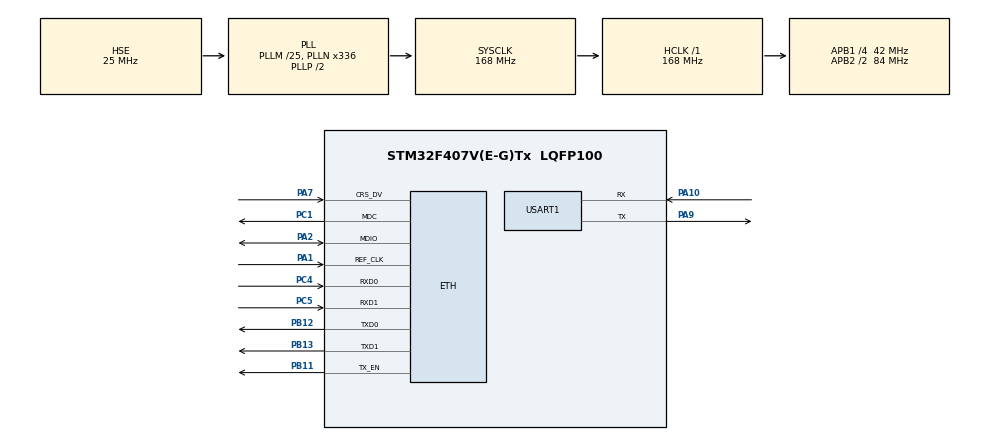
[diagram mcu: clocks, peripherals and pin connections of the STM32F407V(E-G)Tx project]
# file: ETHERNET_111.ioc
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ETH.MediaInterface=HAL_ETH_RMII_MODE
ETH.PHY_Name_RMII=DP83848_PHY_ADDRESS
FREERTOS.INCLUDE_vTaskDelayUntil=1
FREERTOS.Tasks01=defaultTask,0,512,StartDefaultTask,Default,NULL,Dynamic,NULL,NULL
FREERTOS.configMINIMAL_STACK_SIZE=512
FREERTOS.configTOTAL_HEAP_SIZE=32000
FREERTOS.configUSE_NEWLIB_REENTRANT=1
LWIP.BSP.number=1
LWIP.LWIP_HTTPD=1
LWIP.LWIP_RAM_HEAP_POINTER=0x20004000
LWIP.MEM_SIZE=1024*10
LWIP.Version=v2.1.2_Cube
LWIP0.BSP.STBoard=false
LWIP0.BSP.api=BSP_COMPONENT_DRIVER
LWIP0.BSP.component=DP83848
LWIP0.BSP.i2caddr=0
LWIP0.BSP.instance=DP83848
LWIP0.BSP.name=Driver_PHY
LWIP0.BSP.semaphore=S_DP83848
LWIP0.BSP.solution=DP83848
Mcu.Family=STM32F4
Mcu.Name=STM32F407V(E-G)Tx
Mcu.Package=LQFP100
NVIC.ETH_IRQn=true\:5\:0\:false\:false\:true\:true\:true\:true\:true
NVIC.ETH_WKUP_IRQn=true\:5\:0\:false\:false\:true\:true\:true\:true\:true
NVIC.PriorityGroup=NVIC_PRIORITYGROUP_4
NVIC.TIM1_UP_TIM10_IRQn=true\:15\:0\:false\:false\:true\:false\:false\:true\:true
NVIC.TimeBase=TIM1_UP_TIM10_IRQn
NVIC.TimeBaseIP=TIM1
PA1.Mode=RMII
PA1.Signal=ETH_REF_CLK
PA10.Mode=Asynchronous
PA10.Signal=USART1_RX
PA13.Mode=Serial_Wire
PA13.Signal=SYS_JTMS-SWDIO
PA14.Mode=Serial_Wire
PA14.Signal=SYS_JTCK-SWCLK
PA2.Mode=RMII
PA2.Signal=ETH_MDIO
PA7.Mode=RMII
PA7.Signal=ETH_CRS_DV
PA9.Mode=Asynchronous
PA9.Signal=USART1_TX
PB11.Mode=RMII
PB11.Signal=ETH_TX_EN
PB12.Mode=RMII
PB12.Signal=ETH_TXD0
PB13.Mode=RMII
PB13.Signal=ETH_TXD1
PC1.Mode=RMII
PC1.Signal=ETH_MDC
PC4.Mode=RMII
PC4.Signal=ETH_RXD0
PC5.Mode=RMII
PC5.Signal=ETH_RXD1
PH0-OSC_IN.Mode=HSE-External-Oscillator
PH0-OSC_IN.Signal=RCC_OSC_IN
PH1-OSC_OUT.Mode=HSE-External-Oscillator
PH1-OSC_OUT.Signal=RCC_OSC_OUT
ProjectManager.HeapSize=0x200
ProjectManager.StackSize=0x400
ProjectManager.TargetToolchain=STM32CubeIDE
RCC.48MHZClocksFreq_Value=84000000
RCC.AHBFreq_Value=168000000
RCC.APB1CLKDivider=RCC_HCLK_DIV4
RCC.APB1Freq_Value=42000000
RCC.APB1TimFreq_Value=84000000
RCC.APB2CLKDivider=RCC_HCLK_DIV2
RCC.APB2Freq_Value=84000000
RCC.APB2TimFreq_Value=168000000
RCC.CortexFreq_Value=168000000
RCC.HCLKFreq_Value=168000000
RCC.HSE_VALUE=25000000
RCC.HSI_VALUE=16000000
RCC.LSE_VALUE=32768
RCC.PLLM=25
RCC.PLLN=336
RCC.PLLSourceVirtual=RCC_PLLSOURCE_HSE
RCC.SYSCLKFreq_VALUE=168000000
RCC.SYSCLKSource=RCC_SYSCLKSOURCE_PLLCLK
RCC.VCOOutputFreq_Value=336000000
USART1.VirtualMode=VM_ASYNC
VP_FREERTOS_VS_CMSIS_V1.Mode=CMSIS_V1
VP_LWIP_VS_Enabled.Mode=Enabled
VP_SYS_VS_tim1.Mode=TIM1
board=custom

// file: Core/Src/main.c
/* USER CODE BEGIN Header */
/**
  ******************************************************************************
  * @file           : main.c
  * @brief          : Main program body
  ******************************************************************************
  * @attention
  *
  * Copyright (c) 2022 STMicroelectronics.
  * All rights reserved.
  *
  * This software is licensed under terms that can be found in the LICENSE file
  * in the root directory of this software component.
  * If no LICENSE file comes with this software, it is provided AS-IS.
  *
  ******************************************************************************
  */
/* USER CODE END Header */
#include "main.h"
#include "cmsis_os.h"
#include "lwip.h"
#include "usart.h"
#include "gpio.h"

/* USER CODE BEGIN Includes */
#include "app_debug.h"
/* USER CODE END Includes */

void SystemClock_Config(void);
void MX_FREERTOS_Init(void);
/* USER CODE BEGIN PFP */
uint32_t sys_get_ms(void);
bool lock_debug(bool lock, uint32_t timeout_ms);
static SemaphoreHandle_t m_lock_debug;
SemaphoreHandle_t hHttpStart;
/* USER CODE END PFP */

int main(void)
{

  /* MCU Configuration--------------------------------------------------------*/

  /* Reset of all peripherals, Initializes the Flash interface and the Systick. */
  HAL_Init();

  /* Configure the system clock */
  SystemClock_Config();

  /* Initialize all configured peripherals */
  MX_GPIO_Init();
  MX_USART1_UART_Init();
  /* USER CODE BEGIN 2 */
  m_lock_debug = xSemaphoreCreateMutex();
  xSemaphoreGive(m_lock_debug);
  app_debug_init(sys_get_ms, lock_debug);
  app_debug_register_callback_print(usart_logger_put);

  /* USER CODE END 2 */

  /* Call init function for freertos objects (in freertos.c) */
  MX_FREERTOS_Init();

  /* Start scheduler */
  osKernelStart();

  /* We should never get here as control is now taken by the scheduler */
  /* Infinite loop */
  while (1)
  {

  }
}

void SystemClock_Config(void)
{
  RCC_OscInitTypeDef RCC_OscInitStruct = {0};
  RCC_ClkInitTypeDef RCC_ClkInitStruct = {0};

  /** Configure the main internal regulator output voltage
  */
  __HAL_RCC_PWR_CLK_ENABLE();
  __HAL_PWR_VOLTAGESCALING_CONFIG(PWR_REGULATOR_VOLTAGE_SCALE1);

  /** Initializes the RCC Oscillators according to the specified parameters
  * in the RCC_OscInitTypeDef structure.
  */
  RCC_OscInitStruct.OscillatorType = RCC_OSCILLATORTYPE_HSE;
  RCC_OscInitStruct.HSEState = RCC_HSE_ON;
  RCC_OscInitStruct.PLL.PLLState = RCC_PLL_ON;
  RCC_OscInitStruct.PLL.PLLSource = RCC_PLLSOURCE_HSE;
  RCC_OscInitStruct.PLL.PLLM = 25;
  RCC_OscInitStruct.PLL.PLLN = 336;
  RCC_OscInitStruct.PLL.PLLP = RCC_PLLP_DIV2;
  RCC_OscInitStruct.PLL.PLLQ = 4;
  if (HAL_RCC_OscConfig(&RCC_OscInitStruct) != HAL_OK)
  {
    Error_Handler();
  }

  /** Initializes the CPU, AHB and APB buses clocks
  */
  RCC_ClkInitStruct.ClockType = RCC_CLOCKTYPE_HCLK|RCC_CLOCKTYPE_SYSCLK
                              |RCC_CLOCKTYPE_PCLK1|RCC_CLOCKTYPE_PCLK2;
  RCC_ClkInitStruct.SYSCLKSource = RCC_SYSCLKSOURCE_PLLCLK;
  RCC_ClkInitStruct.AHBCLKDivider = RCC_SYSCLK_DIV1;
  RCC_ClkInitStruct.APB1CLKDivider = RCC_HCLK_DIV4;
  RCC_ClkInitStruct.APB2CLKDivider = RCC_HCLK_DIV2;

  if (HAL_RCC_ClockConfig(&RCC_ClkInitStruct, FLASH_LATENCY_5) != HAL_OK)
  {
    Error_Handler();
  }
}

/* USER CODE BEGIN 4 */
uint32_t sys_get_ms(void)
{
    return HAL_GetTick();
}

bool lock_debug(bool lock, uint32_t timeout_ms)
{
	if (lock)
		return xSemaphoreTake(m_lock_debug, timeout_ms);
	xSemaphoreGive(m_lock_debug);
	return true;
}
/* USER CODE END 4 */

void HAL_TIM_PeriodElapsedCallback(TIM_HandleTypeDef *htim)
{
  if (htim->Instance == TIM1) {
    HAL_IncTick();
  }
}

void Error_Handler(void)
{
  __disable_irq();
  while (1)
  {
  }
}

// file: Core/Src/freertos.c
/* USER CODE BEGIN Header */
/**
  ******************************************************************************
  * File Name          : freertos.c
  * Description        : Code for freertos applications
  ******************************************************************************
  * @attention
  *
  * Copyright (c) 2022 STMicroelectronics.
  * All rights reserved.
  *
  * This software is licensed under terms that can be found in the LICENSE file
  * in the root directory of this software component.
  * If no LICENSE file comes with this software, it is provided AS-IS.
  *
  ******************************************************************************
  */
/* USER CODE END Header */

#include "FreeRTOS.h"
#include "task.h"
#include "main.h"
#include "cmsis_os.h"

/* USER CODE BEGIN Includes */
#include "main.h"
#include "lwip/init.h"
#include "lwip/netif.h"
#include "lwip/timeouts.h"
#include "netif/etharp.h"
#include "ethernetif.h"
#include "app_ethernet.h"
#include "app_debug.h"
#include "lwip.h"
#include "stdio.h"
#include "app_http.h"
#include "lwip/dns.h"
#include "mqtt_client.h"
#include "stdbool.h"
/* USER CODE END Includes */

/* USER CODE BEGIN Variables */
struct netif g_netif;
//static bool task_created = false;
/* USER CODE END Variables */
osThreadId defaultTaskHandle;
osThreadId DHCP_id;
static TaskHandle_t m_task_handle_http = NULL;
/* USER CODE BEGIN FunctionPrototypes */
void Netif_Config (bool restart);
void http_task(void *argument);
static void dns_initialize(void);
/* USER CODE END FunctionPrototypes */

void StartDefaultTask(void const * argument);

extern void MX_LWIP_Init(void);
void MX_FREERTOS_Init(void); /* (MISRA C 2004 rule 8.1) */

/* GetIdleTaskMemory prototype (linked to static allocation support) */
void vApplicationGetIdleTaskMemory( StaticTask_t **ppxIdleTaskTCBBuffer, StackType_t **ppxIdleTaskStackBuffer, uint32_t *pulIdleTaskStackSize );

/* USER CODE BEGIN GET_IDLE_TASK_MEMORY */
static StaticTask_t xIdleTaskTCBBuffer;
static StackType_t xIdleStack[configMINIMAL_STACK_SIZE];

void vApplicationGetIdleTaskMemory( StaticTask_t **ppxIdleTaskTCBBuffer, StackType_t **ppxIdleTaskStackBuffer, uint32_t *pulIdleTaskStackSize )
{
  *ppxIdleTaskTCBBuffer = &xIdleTaskTCBBuffer;
  *ppxIdleTaskStackBuffer = &xIdleStack[0];
  *pulIdleTaskStackSize = configMINIMAL_STACK_SIZE;
  /* place for user code */
}
/* USER CODE END GET_IDLE_TASK_MEMORY */

void MX_FREERTOS_Init(void) {

  /* USER CODE BEGIN RTOS_SEMAPHORES */
  /* add semaphores, ... */
	  hHttpStart = xSemaphoreCreateBinary();
  /* USER CODE END RTOS_SEMAPHORES */

  /* Create the thread(s) */
  /* definition and creation of defaultTask */
  osThreadDef(defaultTask, StartDefaultTask, osPriorityNormal, 0, 1024);
  defaultTaskHandle = osThreadCreate(osThread(defaultTask), NULL);

}

void StartDefaultTask(void const * argument)
{
  /* init code for LWIP */
  //MX_LWIP_Init();
  /* USER CODE BEGIN StartDefaultTask */
  tcpip_init( NULL, NULL );
  Netif_Config (false);
  dns_initialize();
  if (m_task_handle_http == NULL)
  {
	  xTaskCreate(http_task, "http_task", 4096, NULL, 0, &m_task_handle_http);
  }

	// dhcp thread

	  /* Create the Ethernet link handler thread */
	/* USER CODE BEGIN H7_OS_THREAD_DEF_CREATE_CMSIS_RTOS_V1 */
//	  osThreadDef(EthLink, ethernet_link_thread, osPriorityBelowNormal, 0, configMINIMAL_STACK_SIZE);
//	  osThreadCreate (osThread(EthLink), &g_netif);
	  /* Start DHCP negotiation for a network interface (IPv4) */

#if LWIP_DHCP
	  /* Start DHCPClient */
	  osThreadDef(DHCP, DHCP_Thread, osPriorityBelowNormal, 0, configMINIMAL_STACK_SIZE * 2);
	  DHCP_id = osThreadCreate (osThread(DHCP), &g_netif);
#endif
	/* USER CODE END H7_OS_THREAD_DEF_CREATE_CMSIS_RTOS_V1 */

  /* Infinite loop */
  for(;;)
  {

	  vTaskDelete(defaultTaskHandle);
  }
  /* USER CODE END StartDefaultTask */
}

/* USER CODE BEGIN Application */
void http_task(void *argument)
{
	DEBUG_INFO("ENTER THE HTTP AND MQTT TASK\r\n");
	xSemaphoreTake(hHttpStart, portMAX_DELAY);
	DEBUG_INFO ("PASS SEM TAKE \r\n");
//	m_http_test_started = true;

#if 0
	// http://httpbin.org/get
	app_http_config_t http_cfg;
	sprintf(http_cfg.url, "%s", "httpbin.org");
	http_cfg.port = 80;
	sprintf(http_cfg.file, "%s", "/get");
	http_cfg.on_event_cb = (void*)0;
	app_http_start(&http_cfg);
#else
    mqtt_client_cfg_t mqtt_cfg =
    {
        .periodic_sub_req_s = 120,            // second
        .broker_addr = "broker.hivemq.com",
        .port = 1883,
        .password = NULL,
        .client_id = "test_lwip_porting",
    };
    mqtt_client_initialize(&mqtt_cfg);
	for(;;)
	{
//		xSemaphoreTake(hHttpStart, portMAX_DELAY);
		mqtt_client_polling_task(NULL);
		osDelay(1000);

	}
#endif
//	for(;;)
//	{
//
//		osDelay(1000);
//
//	}
}

void Netif_Config (bool restart)
{
	ip4_addr_t ipaddr;
	ip4_addr_t netmask;
	ip4_addr_t gw;
	  /* IP addresses initialization with DHCP (IPv4) */
	  ipaddr.addr = 0;
	  netmask.addr = 0;
	  gw.addr = 0;
	  if (restart)
	  {
			netif_remove (&g_netif);
			DEBUG_INFO ("NET IF REMOVE \r\n");
	  /* Start DHCP negotiation for a network interface (IPv4) */

//#if LWIP_DHCP
//	  /* Start DHCPClient */
//	  osThreadDef(DHCP, DHCP_Thread, osPriorityBelowNormal, 0, configMINIMAL_STACK_SIZE * 2);
//	  DHCP_id = osThreadCreate (osThread(DHCP), &g_netif);
//#endif
	  }
	  /* add the network interface (IPv4/IPv6) with RTOS */
	  netif_add(&g_netif, &ipaddr, &netmask, &gw, NULL, &ethernetif_init, &tcpip_input);//&tcpip_input =>null

	  /* Registers the default network interface */
	  netif_set_default(&g_netif);
	  netif_set_link_callback(&g_netif, ethernet_link_status_updated);
	  if (netif_is_link_up(&g_netif))
	  {
	    /* When the netif is fully configured this function must be called */
	    netif_set_up(&g_netif);
	  }
	  else
	  {
	    /* When the netif link is down this function must be called */
	    netif_set_down(&g_netif);
	  }
	  app_ethernet_notification(&g_netif);
	  /* Set the link callback function, this function is called on change of link status*/

	  DEBUG_INFO ("SET LINK CALLBACK \r\n");

}

static void dns_initialize(void)
{
    ip_addr_t dns_server_0 = IPADDR4_INIT_BYTES(8, 8, 8, 8);
    ip_addr_t dns_server_1 = IPADDR4_INIT_BYTES(1, 1, 1, 1);
    dns_setserver(0, &dns_server_0);
    dns_setserver(1, &dns_server_1);
    dns_init();
}
/* USER CODE END Application */
